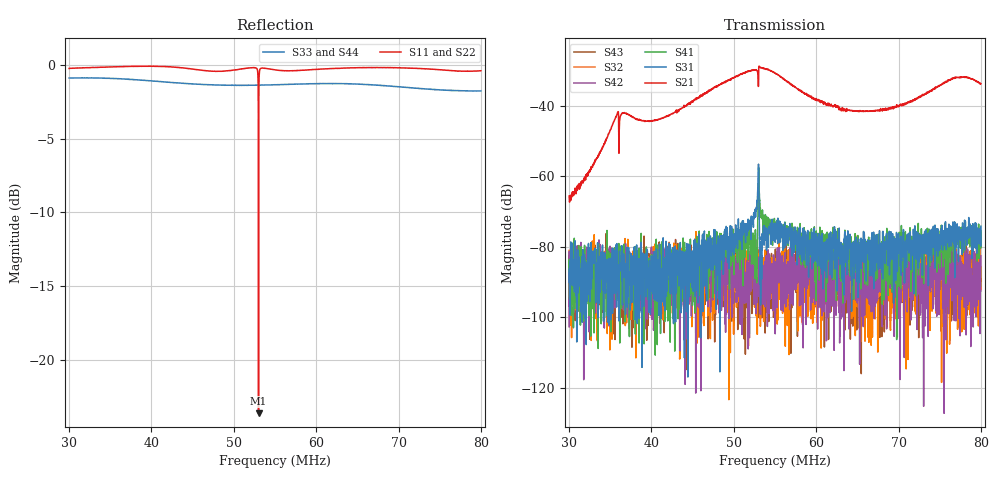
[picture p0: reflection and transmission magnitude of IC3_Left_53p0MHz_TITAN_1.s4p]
#  HZ  S  DB  R  50.00
! Rohde & Schwarz Vector Network Analyzer
! Rohde-Schwarz,ZNB8-4Port,1311601044102961,2.82
! Created: UTC 2/8/2019, 4:04:39 PM
! freq[Hz]  db:S11  ang:S11  db:S12  ang:S12  db:S13  ang:S13  db:S14  ang:S14
!  db:S21  ang:S21  db:S22  ang:S22  db:S23  ang:S23  db:S24  ang:S24
!  db:S31  ang:S31  db:S32  ang:S32  db:S33  ang:S33  db:S34  ang:S34
!  db:S41  ang:S41  db:S42  ang:S42  db:S43  ang:S43  db:S44  ang:S44
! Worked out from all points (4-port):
!   2001 points, 30 MHz to 80 MHz, reference 50 ohm
!   strongest paths, dB at 30 MHz, 42.5 MHz, 55 MHz, 67.5 MHz, 80 MHz:
!     S21: -65.6, -42.2, -30.7, -41.3, -33.8
!     S31: -86.3, -81.8, -73.8, -79.5, -74.1
!     S41: -86.9, -81.0, -74.5, -80.7, -75.5
!     S42: -102.7, -87.7, -91.6, -85.5, -82.6
!     S32: -81.0, -81.8, -89.5, -81.1, -85.8
!     S43: -87.2, -86.8, -84.5, -79.8, -88.9
!   lowest |S11| = -23.6 dB at 53 MHz (marker M1), VSWR 1.14, Z = 43.8 - j0.713 ohm
!   |S11| at or under -10 dB: 52.98326 MHz to 53.01732 MHz (34.06 kHz wide, 0.0643 % of centre)
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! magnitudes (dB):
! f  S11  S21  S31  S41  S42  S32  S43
! 30 MHz  -0.2  -65.6  -86.3  -86.9  -102.7  -81.0  -87.2
! 35.75 MHz  -0.1  -42.9  -92.2  -81.4  -95.5  -84.0  -86.3
! 52.6 MHz  -0.2  -30.0  -69.3  -89.0  -87.0  -84.4  -85.1
! 53 MHz  -23.6  -34.4  -56.6  -57.5  -94.0  -90.0  -96.0
! 53.42 MHz  -0.2  -29.3  -80.9  -70.2  -87.2  -87.6  -90.6
! 64.92 MHz  -0.2  -41.5  -81.3  -80.4  -83.2  -90.1  -103.5
! 80 MHz  -0.4  -33.8  -74.1  -75.5  -82.6  -85.8  -88.9
